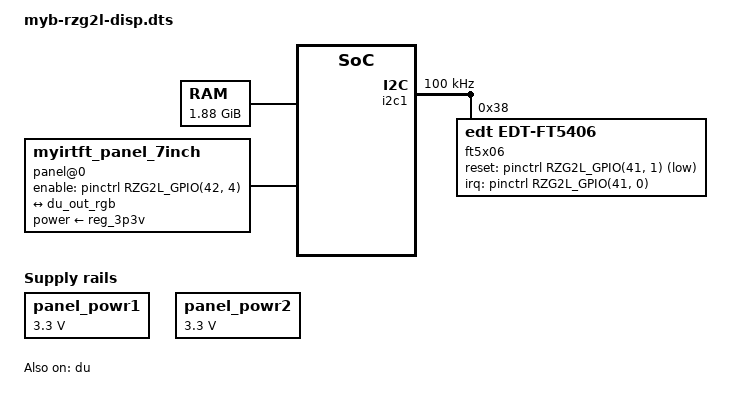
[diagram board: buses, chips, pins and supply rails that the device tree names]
// SPDX-License-Identifier: GPL-2.0
/*
 * Device Tree Source for the RZG2L Dual A55 Evaluation board
 *
 * Copyright (C) 2022 MYiR Electronics Corp.
 */

/dts-v1/;
#include "myb-rzg2l-smarc-base.dtsi"

/ {

	memory@48000000 {
		device_type = "memory";
		/* first 128MB is reserved for secure area. */
		reg = <0x0 0x48000000 0x0 0x78000000>;
	};

	reserved-memory {
		#address-cells = <2>;
		#size-cells = <2>;
		ranges;

		global_cma: linux,cma@58000000 {
			compatible = "shared-dma-pool";
			linux,cma-default;
			reusable;
			reg = <0x0 0x58000000 0x0 0x10000000>;
		};
		mmp_reserved: linux,multimedia {
			compatible = "shared-dma-pool";
			reusable;
			reg = <0x00000000 0x68000000 0x0 0x8000000>;
		};
	};

	mmngr {
		compatible = "renesas,mmngr";
		memory-region = <&mmp_reserved>;
	};

	mmngrbuf {
		compatible = "renesas,mmngrbuf";
	};

	vspm_if {
			compatible = "renesas,vspm_if";
	};

	panel_powr1: regulator-panel_powr1 {
		compatible = "regulator-gpio";
		regulator-name = "panel-power1";
		regulator-min-microvolt = <3300000>;
		regulator-max-microvolt = <3300000>;
		gpios = <&pinctrl RZG2L_GPIO(28, 1) GPIO_ACTIVE_HIGH>;
		enable-active-high;
		regulator-boot-on;
		regulator-always-on;
	};

	panel_powr2: regulator-panel_powr2 {
		compatible = "regulator-gpio";
		regulator-name = "panel-power2";
		regulator-min-microvolt = <3300000>;
		regulator-max-microvolt = <3300000>;
		gpios = <&pinctrl RZG2L_GPIO(37, 2) GPIO_ACTIVE_HIGH>;
		enable-active-high;
		regulator-boot-on;
		regulator-always-on;
	};
	panel@0 {
		compatible = "myirtft_panel_7inch";
		// backlight = <&lcd_backlight>;
		power-supply = <&reg_3p3v>;
		enable-gpios = <&pinctrl RZG2L_GPIO(42, 4) GPIO_ACTIVE_HIGH>;// backlight
		status = "okay";
		no-hpd;

		port {
			panel_lcd_in: endpoint {
				remote-endpoint = <&du_out_rgb>;
			};
		};
	};
};


&pinctrl {

        du_pins: du {
                groups = "disp_bgr888", "disp_sync", "disp_de", "disp_clk";
                function = "disp";
                data {
                        pinmux = <RZG2L_PORT_PINMUX(7, 2, 1)>,
                                 <RZG2L_PORT_PINMUX(8, 0, 1)>,
                                 <RZG2L_PORT_PINMUX(8, 1, 1)>,
                                 <RZG2L_PORT_PINMUX(8, 2, 1)>,
                                 <RZG2L_PORT_PINMUX(9, 0, 1)>,
                                 <RZG2L_PORT_PINMUX(9, 1, 1)>,
                                 <RZG2L_PORT_PINMUX(10, 0, 1)>,
                                 <RZG2L_PORT_PINMUX(10, 1, 1)>,
                                 <RZG2L_PORT_PINMUX(11, 0, 1)>,
                                 <RZG2L_PORT_PINMUX(11, 1, 1)>,
                                 <RZG2L_PORT_PINMUX(12, 0, 1)>,
                                 <RZG2L_PORT_PINMUX(12, 1, 1)>,
                                 <RZG2L_PORT_PINMUX(13, 0, 1)>,
                                 <RZG2L_PORT_PINMUX(13, 1, 1)>,
                                 <RZG2L_PORT_PINMUX(13, 2, 1)>,
                                 <RZG2L_PORT_PINMUX(14, 0, 1)>,
                                 <RZG2L_PORT_PINMUX(14, 1, 1)>,
                                 <RZG2L_PORT_PINMUX(15, 0, 1)>,
                                 <RZG2L_PORT_PINMUX(15, 1, 1)>,
                                 <RZG2L_PORT_PINMUX(16, 0, 1)>,
                                 <RZG2L_PORT_PINMUX(16, 1, 1)>,
                                 <RZG2L_PORT_PINMUX(17, 0, 1)>,
                                 <RZG2L_PORT_PINMUX(17, 1, 1)>,
                                 <RZG2L_PORT_PINMUX(17, 2, 1)>;
                        drive-strength = <2>;
                };

                sync {
                        pinmux = <RZG2L_PORT_PINMUX(6, 1, 1)>, /* HSYNC */
                                 <RZG2L_PORT_PINMUX(7, 0, 1)>; /* VSYNC */
                        drive-strength = <2>;
                };

                de {
                        pinmux = <RZG2L_PORT_PINMUX(7, 1, 1)>; /* DE */
                        drive-strength = <2>;
                };

                clk {
                        pinmux = <RZG2L_PORT_PINMUX(6, 0, 1)>; /* CLK */
                };
        };
};

&ehci0 {
	memory-region = <&global_cma>;
};

&ohci0 {
	memory-region = <&global_cma>;
};

&ehci1 {
	memory-region = <&global_cma>;
};

&ohci1 {
	memory-region = <&global_cma>;
};

/* MIPI DSI */
&dsi0 {
	status = "disabled";
};


&du {
	pinctrl-0 = <&du_pins>;
	pinctrl-names = "default";
	status = "okay";

	ports {
		port@0 {
			du_out_rgb: endpoint {
				remote-endpoint = <&panel_lcd_in>;
			};
		};
	};
};

&i2c1 {
	pinctrl-0 = <&i2c1_pins>;
	pinctrl-names = "default";
	clock-frequency = <100000>;
	status = "okay";

    ft5x06: ft5x06@38 {
        compatible = "edt,edt-ft5406", "edt,edt-ft5x06";
            reg = <0x38>;
            interrupt-parent = <&pinctrl>;
            interrupts = <RZG2L_GPIO(41, 0) IRQ_TYPE_EDGE_FALLING>;
            reset-gpios = <&pinctrl RZG2L_GPIO(41, 1) GPIO_ACTIVE_LOW>;
            touchscreen-size-x=<800>;
            touchscreen-size-y=<480>;
    };


};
